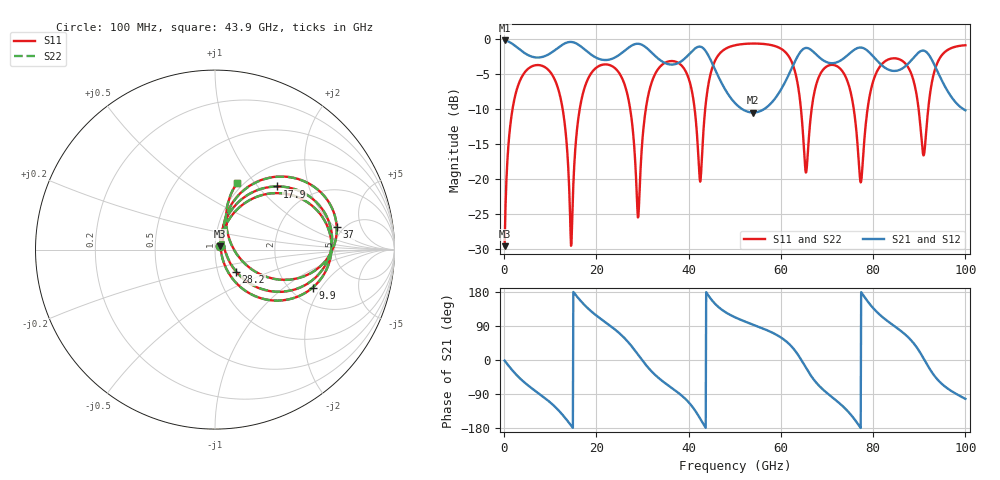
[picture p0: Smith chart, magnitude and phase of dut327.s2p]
! Touchstone file exported from HFSS 2026.1.0
!  File:  C:/ffzhzh/LocalFiles/Ansys_Project_Files/temp_train_TSV_RDL_327_1783702668_45164.aedt
!  Generated:  01:06:01 AM Jul 11, 2026
!  Design:  TSV_RDL
!  Project:  temp_train_TSV_RDL_327_1783702668_45164
! Variables:
!  h_bsmrdl = 4.42um
!  h_ox = 20um
!  h_rdl = 5um
!  h_sub = 67.2um
!  h_tmrdl = 3.34um
!  h_tsv = 67.2um
!  h_via = 3um
!  l_bsmrdl = 350.21um
!  l_sub = 3979.26um
!  l_tmrdl = 609.71um
!  m_sub = 200um
!  pitch = 58.07um
!  r_tsv = 12.35um
!  s_tmrdl = 10um
!  w_bsmrdl = 18.04um
!  w_sub = 500um
!  w_tmrdl = 11.89um
!  x_tsv_center1 = 615.655um
!  x_tsv_center2 = 983.905um
!  x_tsv_center3 = 1605.505um
!  x_tsv_center4 = 1973.755um
!  x_tsv_center5 = 2595.355um
!  x_tsv_center6 = 2963.605um
# GHz S MA R 50.000000
! Terminal data exported
! Port[1] = TM_RDL1_1_T1
! Port[2] = TM_RDL5_1_T1
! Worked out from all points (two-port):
!   1000 points, 100 MHz to 100 GHz, reference 50 ohm
!   highest |S21| = -0.24 dB at 100 MHz (marker M1); lowest = -10.5 dB at 54 GHz (marker M2)
!   |S21| within 3 dB of the highest: start of sweep to 34.25 GHz; 72.56 GHz to 81.01 GHz (8.444 GHz wide, 11 % of centre) (the widest 2 of 5)
!   lowest |S11| = -29.6 dB at 100 MHz (marker M3), VSWR 1.07, Z = 52.8 + j1.99 ohm
!   |S11| at or under -10 dB: 12.68 GHz to 16.39 GHz (3.71 GHz wide, 25.5 % of centre); 27.32 GHz to 30.71 GHz (3.392 GHz wide, 11.7 % of centre); 75.8 GHz to 78.79 GHz (2.994 GHz wide, 3.87 % of centre) (the widest 3 of 7)
!   |S22| runs from -29.7 to -0.7 dB; largest |S21 - S12| = 1.1e-13
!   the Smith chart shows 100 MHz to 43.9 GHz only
!   S11 on the Smith chart (normalised r, x): 100 MHz: 1.06, +0.04; 9.9 GHz: 2.61, -1.68; 17.9 GHz: 1.37, +1.28; 28.2 GHz: 1.22, -0.31; 37 GHz: 4.41, +2.09; 43.9 GHz: 0.93, +0.82
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0.1  0.0331 34.7  0.9731 -1.6  0.9731 -1.6  0.0331 34.7
! Gamma 0 0 0 0
! Port Impedance 50 0 50 0
2.8  0.4406 45.3  0.8683 -40.9  0.8683 -40.9  0.4406 45.3
9.9  0.5842 -21.2  0.7836 -111.0  0.7836 -111.0  0.5842 -21.2
14.5  0.0333 -4.6  0.9495 -172.5  0.9495 -172.5  0.03291 -4.6
16.8  0.3723 57.6  0.8735 153.2  0.8735 153.2  0.3723 57.7
17.9  0.4935 45.5  0.816 139.3  0.816 139.3  0.4935 45.5
28.2  0.1705 -46.3  0.9124 27.6  0.9124 27.6  0.171 -45.8
29.1  0.05384 24.6  0.9214 12.9  0.9214 12.9  0.05542 24.2
33.4  0.6094 40.1  0.722 -46.5  0.722 -46.5  0.6094 40.0
37  0.6894 10.4  0.6582 -79.7  0.6582 -79.7  0.6893 10.3
42.5  0.09552 22.3  0.8788 -154.7  0.8788 -154.7  0.09451 22.4
43.9  0.3898 71.8  0.7982 177.1  0.7982 177.1  0.3898 71.9
50.1  0.8998 19.7  0.3465 112.4  0.3465 112.4  0.8999 19.8
54  0.9251 2.5  0.2976 93.1  0.2976 93.1  0.9252 2.5
62.4  0.6777 -48.2  0.6209 34.5  0.6209 34.5  0.6777 -48.1
65.4  0.111 -23.2  0.8604 -19.9  0.8604 -19.9  0.1114 -23.0
66.7  0.322 28.9  0.8259 -44.6  0.8259 -44.6  0.3223 28.9
73  0.6053 -24.7  0.7017 -117.3  0.7017 -117.3  0.6057 -24.5
76.9  0.1299 -37.4  0.8643 -172.3  0.8643 -172.3  0.1329 -36.2
83.4  0.7145 8.4  0.6006 100.2  0.6006 100.2  0.7147 8.1
91  0.148 7.7  0.8227 2.8  0.8227 2.8  0.1427 7.8
100  0.8997 -14.2  0.3089 -102.5  0.3089 -102.5  0.8997 -14.0
